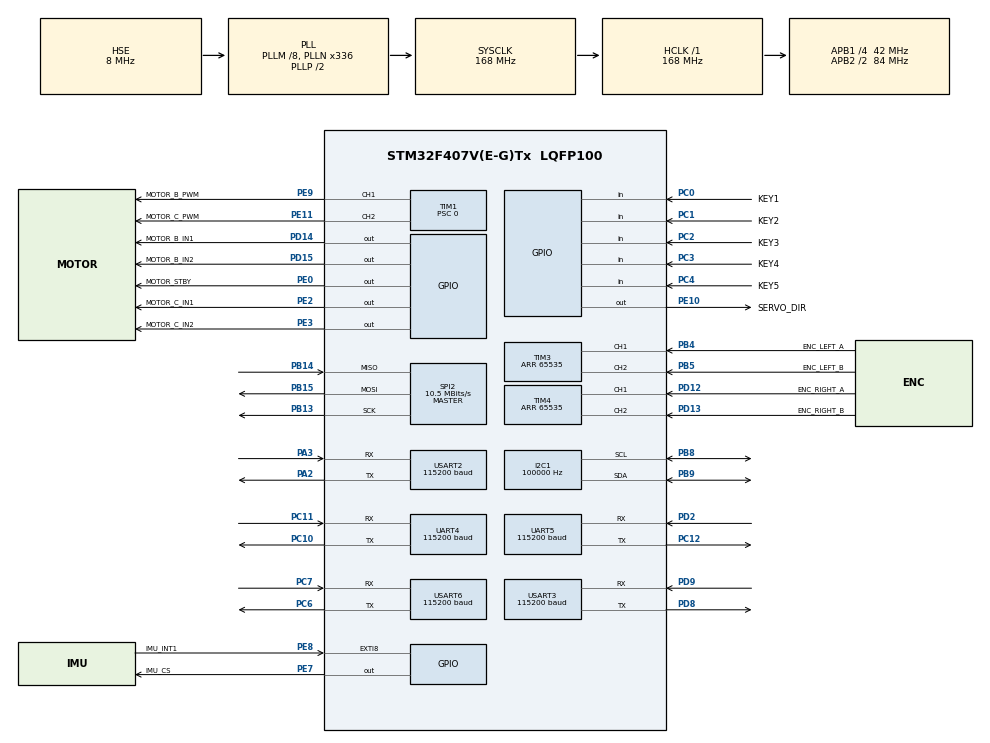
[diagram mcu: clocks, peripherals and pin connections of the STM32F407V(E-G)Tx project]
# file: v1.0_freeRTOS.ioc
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Dma.Request0=UART5_RX
Dma.Request1=UART5_TX
Dma.Request2=USART3_RX
Dma.Request3=USART2_RX
Dma.Request4=USART2_TX
Dma.Request5=SPI2_RX
Dma.Request6=SPI2_TX
Dma.Request7=USART6_RX
Dma.Request8=USART6_TX
Dma.Request9=UART4_RX
Dma.SPI2_RX.5.Direction=DMA_PERIPH_TO_MEMORY
Dma.SPI2_RX.5.FIFOMode=DMA_FIFOMODE_DISABLE
Dma.SPI2_RX.5.Instance=DMA1_Stream3
Dma.SPI2_RX.5.MemDataAlignment=DMA_MDATAALIGN_BYTE
Dma.SPI2_RX.5.MemInc=DMA_MINC_ENABLE
Dma.SPI2_RX.5.Mode=DMA_NORMAL
Dma.SPI2_RX.5.PeriphDataAlignment=DMA_PDATAALIGN_BYTE
Dma.SPI2_RX.5.PeriphInc=DMA_PINC_DISABLE
Dma.SPI2_RX.5.Priority=DMA_PRIORITY_HIGH
Dma.SPI2_TX.6.Direction=DMA_MEMORY_TO_PERIPH
Dma.SPI2_TX.6.FIFOMode=DMA_FIFOMODE_DISABLE
Dma.SPI2_TX.6.Instance=DMA1_Stream4
Dma.SPI2_TX.6.MemDataAlignment=DMA_MDATAALIGN_BYTE
Dma.SPI2_TX.6.MemInc=DMA_MINC_ENABLE
Dma.SPI2_TX.6.Mode=DMA_NORMAL
Dma.SPI2_TX.6.PeriphDataAlignment=DMA_PDATAALIGN_BYTE
Dma.SPI2_TX.6.PeriphInc=DMA_PINC_DISABLE
Dma.SPI2_TX.6.Priority=DMA_PRIORITY_HIGH
Dma.UART4_RX.9.Direction=DMA_PERIPH_TO_MEMORY
Dma.UART4_RX.9.FIFOMode=DMA_FIFOMODE_DISABLE
Dma.UART4_RX.9.Instance=DMA1_Stream2
Dma.UART4_RX.9.MemDataAlignment=DMA_MDATAALIGN_BYTE
Dma.UART4_RX.9.MemInc=DMA_MINC_ENABLE
Dma.UART4_RX.9.Mode=DMA_CIRCULAR
Dma.UART4_RX.9.PeriphDataAlignment=DMA_PDATAALIGN_BYTE
Dma.UART4_RX.9.PeriphInc=DMA_PINC_DISABLE
Dma.UART4_RX.9.Priority=DMA_PRIORITY_MEDIUM
Dma.UART5_RX.0.Direction=DMA_PERIPH_TO_MEMORY
Dma.UART5_RX.0.FIFOMode=DMA_FIFOMODE_DISABLE
Dma.UART5_RX.0.Instance=DMA1_Stream0
Dma.UART5_RX.0.MemDataAlignment=DMA_MDATAALIGN_BYTE
Dma.UART5_RX.0.MemInc=DMA_MINC_ENABLE
Dma.UART5_RX.0.Mode=DMA_NORMAL
Dma.UART5_RX.0.PeriphDataAlignment=DMA_PDATAALIGN_BYTE
Dma.UART5_RX.0.PeriphInc=DMA_PINC_DISABLE
Dma.UART5_RX.0.Priority=DMA_PRIORITY_LOW
Dma.UART5_TX.1.Direction=DMA_MEMORY_TO_PERIPH
Dma.UART5_TX.1.FIFOMode=DMA_FIFOMODE_DISABLE
Dma.UART5_TX.1.Instance=DMA1_Stream7
Dma.UART5_TX.1.MemDataAlignment=DMA_MDATAALIGN_BYTE
Dma.UART5_TX.1.MemInc=DMA_MINC_ENABLE
Dma.UART5_TX.1.Mode=DMA_NORMAL
Dma.UART5_TX.1.PeriphDataAlignment=DMA_PDATAALIGN_BYTE
Dma.UART5_TX.1.PeriphInc=DMA_PINC_DISABLE
Dma.UART5_TX.1.Priority=DMA_PRIORITY_LOW
Dma.USART2_RX.3.Direction=DMA_PERIPH_TO_MEMORY
Dma.USART2_RX.3.FIFOMode=DMA_FIFOMODE_DISABLE
Dma.USART2_RX.3.Instance=DMA1_Stream5
Dma.USART2_RX.3.MemDataAlignment=DMA_MDATAALIGN_BYTE
Dma.USART2_RX.3.MemInc=DMA_MINC_ENABLE
Dma.USART2_RX.3.Mode=DMA_CIRCULAR
Dma.USART2_RX.3.PeriphDataAlignment=DMA_PDATAALIGN_BYTE
Dma.USART2_RX.3.PeriphInc=DMA_PINC_DISABLE
Dma.USART2_RX.3.Priority=DMA_PRIORITY_HIGH
Dma.USART2_TX.4.Direction=DMA_MEMORY_TO_PERIPH
Dma.USART2_TX.4.FIFOMode=DMA_FIFOMODE_DISABLE
Dma.USART2_TX.4.Instance=DMA1_Stream6
Dma.USART2_TX.4.MemDataAlignment=DMA_MDATAALIGN_BYTE
Dma.USART2_TX.4.MemInc=DMA_MINC_ENABLE
Dma.USART2_TX.4.Mode=DMA_NORMAL
Dma.USART2_TX.4.PeriphDataAlignment=DMA_PDATAALIGN_BYTE
Dma.USART2_TX.4.PeriphInc=DMA_PINC_DISABLE
Dma.USART2_TX.4.Priority=DMA_PRIORITY_MEDIUM
Dma.USART3_RX.2.Direction=DMA_PERIPH_TO_MEMORY
Dma.USART3_RX.2.FIFOMode=DMA_FIFOMODE_DISABLE
Dma.USART3_RX.2.Instance=DMA1_Stream1
Dma.USART3_RX.2.MemDataAlignment=DMA_MDATAALIGN_BYTE
Dma.USART3_RX.2.MemInc=DMA_MINC_ENABLE
Dma.USART3_RX.2.Mode=DMA_CIRCULAR
Dma.USART3_RX.2.PeriphDataAlignment=DMA_PDATAALIGN_BYTE
Dma.USART3_RX.2.PeriphInc=DMA_PINC_DISABLE
Dma.USART3_RX.2.Priority=DMA_PRIORITY_VERY_HIGH
Dma.USART6_RX.7.Direction=DMA_PERIPH_TO_MEMORY
Dma.USART6_RX.7.FIFOMode=DMA_FIFOMODE_DISABLE
Dma.USART6_RX.7.Instance=DMA2_Stream1
Dma.USART6_RX.7.MemDataAlignment=DMA_MDATAALIGN_BYTE
Dma.USART6_RX.7.MemInc=DMA_MINC_ENABLE
Dma.USART6_RX.7.Mode=DMA_CIRCULAR
Dma.USART6_RX.7.PeriphDataAlignment=DMA_PDATAALIGN_BYTE
Dma.USART6_RX.7.PeriphInc=DMA_PINC_DISABLE
Dma.USART6_RX.7.Priority=DMA_PRIORITY_HIGH
Dma.USART6_TX.8.Direction=DMA_MEMORY_TO_PERIPH
Dma.USART6_TX.8.FIFOMode=DMA_FIFOMODE_DISABLE
Dma.USART6_TX.8.Instance=DMA2_Stream6
Dma.USART6_TX.8.MemDataAlignment=DMA_MDATAALIGN_BYTE
Dma.USART6_TX.8.MemInc=DMA_MINC_ENABLE
Dma.USART6_TX.8.Mode=DMA_NORMAL
Dma.USART6_TX.8.PeriphDataAlignment=DMA_PDATAALIGN_BYTE
Dma.USART6_TX.8.PeriphInc=DMA_PINC_DISABLE
Dma.USART6_TX.8.Priority=DMA_PRIORITY_HIGH
FREERTOS.Tasks01=defaultTask,24,512,StartDefaultTask,Default,NULL,Dynamic,NULL,NULL
FREERTOS.configTOTAL_HEAP_SIZE=32768
I2C1.ClockSpeed=100000
Mcu.Family=STM32F4
Mcu.Name=STM32F407V(E-G)Tx
Mcu.Package=LQFP100
NVIC.DMA1_Stream0_IRQn=true\:5\:0\:false\:false\:true\:true\:true\:true\:true
NVIC.DMA1_Stream1_IRQn=true\:5\:0\:false\:false\:true\:true\:true\:true\:true
NVIC.DMA1_Stream2_IRQn=true\:5\:0\:false\:false\:true\:true\:true\:true\:true
NVIC.DMA1_Stream3_IRQn=true\:5\:0\:false\:false\:true\:true\:true\:true\:true
NVIC.DMA1_Stream4_IRQn=true\:5\:0\:false\:false\:true\:true\:true\:true\:true
NVIC.DMA1_Stream5_IRQn=true\:5\:0\:false\:false\:true\:true\:true\:true\:true
NVIC.DMA1_Stream6_IRQn=true\:5\:0\:false\:false\:true\:true\:true\:true\:true
NVIC.DMA1_Stream7_IRQn=true\:5\:0\:false\:false\:true\:true\:true\:true\:true
NVIC.DMA2_Stream1_IRQn=true\:5\:0\:false\:false\:true\:true\:true\:true\:true
NVIC.DMA2_Stream6_IRQn=true\:5\:0\:false\:false\:true\:true\:true\:true\:true
NVIC.EXTI0_IRQn=false\:5\:0\:false\:false\:true\:true\:true\:true\:true
NVIC.EXTI1_IRQn=false\:5\:0\:false\:false\:true\:true\:true\:true\:true
NVIC.EXTI2_IRQn=false\:5\:0\:false\:false\:true\:true\:true\:true\:true
NVIC.EXTI3_IRQn=false\:5\:0\:false\:false\:true\:true\:true\:true\:true
NVIC.EXTI4_IRQn=false\:5\:0\:false\:false\:true\:true\:true\:true\:true
NVIC.EXTI9_5_IRQn=true\:5\:0\:false\:false\:true\:true\:true\:true\:true
NVIC.PriorityGroup=NVIC_PRIORITYGROUP_4
NVIC.TIM6_DAC_IRQn=true\:15\:0\:false\:false\:true\:false\:false\:true\:true
NVIC.TimeBase=TIM6_DAC_IRQn
NVIC.TimeBaseIP=TIM6
NVIC.UART4_IRQn=true\:5\:0\:false\:false\:true\:true\:true\:true\:true
NVIC.UART5_IRQn=true\:5\:0\:false\:false\:true\:true\:true\:true\:true
NVIC.USART2_IRQn=true\:5\:0\:false\:false\:true\:true\:true\:true\:true
NVIC.USART3_IRQn=true\:5\:0\:false\:false\:true\:true\:true\:true\:true
NVIC.USART6_IRQn=true\:5\:0\:false\:false\:true\:true\:true\:true\:true
PA1.GPIO_Label=TB6612_ADC
PA1.Signal=ADCx_IN1
PA13.Mode=Serial_Wire
PA13.Signal=SYS_JTMS-SWDIO
PA14.Mode=Serial_Wire
PA14.Signal=SYS_JTCK-SWCLK
PA2.Mode=Asynchronous
PA2.Signal=USART2_TX
PA3.Mode=Asynchronous
PA3.Signal=USART2_RX
PB13.Mode=Full_Duplex_Master
PB13.Signal=SPI2_SCK
PB14.Mode=Full_Duplex_Master
PB14.Signal=SPI2_MISO
PB15.Mode=Full_Duplex_Master
PB15.Signal=SPI2_MOSI
PB4.GPIO_Label=ENC_LEFT_A
PB4.GPIO_PuPd=GPIO_PULLUP
PB4.Signal=S_TIM3_CH1
PB5.GPIO_Label=ENC_LEFT_B
PB5.GPIO_PuPd=GPIO_PULLUP
PB5.Signal=S_TIM3_CH2
PB8.Mode=I2C
PB8.Signal=I2C1_SCL
PB9.Mode=I2C
PB9.Signal=I2C1_SDA
PC0.GPIO_Label=KEY1
PC0.GPIO_PuPd=GPIO_PULLUP
PC0.Signal=GPIO_Input
PC1.GPIO_Label=KEY2
PC1.GPIO_PuPd=GPIO_PULLUP
PC1.Signal=GPIO_Input
PC10.Mode=Asynchronous
PC10.Signal=UART4_TX
PC11.Mode=Asynchronous
PC11.Signal=UART4_RX
PC12.Mode=Asynchronous
PC12.Signal=UART5_TX
PC2.GPIO_Label=KEY3
PC2.GPIO_PuPd=GPIO_PULLUP
PC2.Signal=GPIO_Input
PC3.GPIO_Label=KEY4
PC3.GPIO_PuPd=GPIO_PULLUP
PC3.Signal=GPIO_Input
PC4.GPIO_Label=KEY5
PC4.GPIO_PuPd=GPIO_PULLUP
PC4.Signal=GPIO_Input
PC6.Mode=Asynchronous
PC6.Signal=USART6_TX
PC7.Mode=Asynchronous
PC7.Signal=USART6_RX
PD12.GPIO_Label=ENC_RIGHT_A
PD12.GPIO_PuPd=GPIO_PULLUP
PD12.Signal=S_TIM4_CH1
PD13.GPIO_Label=ENC_RIGHT_B
PD13.GPIO_PuPd=GPIO_PULLUP
PD13.Signal=S_TIM4_CH2
PD14.GPIO_Label=MOTOR_B_IN1
PD14.GPIO_PuPd=GPIO_NOPULL
PD14.GPIO_Speed=GPIO_SPEED_FREQ_LOW
PD14.PinState=GPIO_PIN_RESET
PD14.Signal=GPIO_Output
PD15.GPIO_Label=MOTOR_B_IN2
PD15.GPIO_PuPd=GPIO_NOPULL
PD15.GPIO_Speed=GPIO_SPEED_FREQ_LOW
PD15.PinState=GPIO_PIN_RESET
PD15.Signal=GPIO_Output
PD2.Mode=Asynchronous
PD2.Signal=UART5_RX
PD8.Mode=Asynchronous
PD8.Signal=USART3_TX
PD9.Mode=Asynchronous
PD9.Signal=USART3_RX
PE0.GPIO_Label=MOTOR_STBY
PE0.GPIO_PuPd=GPIO_PULLDOWN
PE0.GPIO_Speed=GPIO_SPEED_FREQ_LOW
PE0.PinState=GPIO_PIN_RESET
PE0.Signal=GPIO_Output
PE10.GPIO_Label=SERVO_DIR
PE10.GPIO_PuPd=GPIO_NOPULL
PE10.GPIO_Speed=GPIO_SPEED_FREQ_LOW
PE10.PinState=GPIO_PIN_RESET
PE10.Signal=GPIO_Output
PE11.GPIO_Label=MOTOR_C_PWM
PE11.Signal=S_TIM1_CH2
PE2.GPIO_Label=MOTOR_C_IN1
PE2.GPIO_PuPd=GPIO_NOPULL
PE2.GPIO_Speed=GPIO_SPEED_FREQ_LOW
PE2.PinState=GPIO_PIN_RESET
PE2.Signal=GPIO_Output
PE3.GPIO_Label=MOTOR_C_IN2
PE3.GPIO_PuPd=GPIO_NOPULL
PE3.GPIO_Speed=GPIO_SPEED_FREQ_LOW
PE3.PinState=GPIO_PIN_RESET
PE3.Signal=GPIO_Output
PE7.GPIO_Label=IMU_CS
PE7.GPIO_PuPd=GPIO_PULLUP
PE7.GPIO_Speed=GPIO_SPEED_FREQ_HIGH
PE7.PinState=GPIO_PIN_SET
PE7.Signal=GPIO_Output
PE8.GPIO_Label=IMU_INT1
PE8.GPIO_ModeDefaultEXTI=GPIO_MODE_IT_RISING
PE8.GPIO_PuPd=GPIO_NOPULL
PE8.Signal=GPXTI8
PE9.GPIO_Label=MOTOR_B_PWM
PE9.Signal=S_TIM1_CH1
PH0-OSC_IN.Mode=HSE-External-Oscillator
PH0-OSC_IN.Signal=RCC_OSC_IN
PH1-OSC_OUT.Mode=HSE-External-Oscillator
PH1-OSC_OUT.Signal=RCC_OSC_OUT
ProjectManager.HeapSize=0x400
ProjectManager.StackSize=0x800
ProjectManager.TargetToolchain=CMake
RCC.48MHZClocksFreq_Value=48000000
RCC.AHBFreq_Value=168000000
RCC.APB1CLKDivider=RCC_HCLK_DIV4
RCC.APB1Freq_Value=42000000
RCC.APB1TimFreq_Value=84000000
RCC.APB2CLKDivider=RCC_HCLK_DIV2
RCC.APB2Freq_Value=84000000
RCC.APB2TimFreq_Value=168000000
RCC.CortexFreq_Value=168000000
RCC.HCLKFreq_Value=168000000
RCC.HSE_VALUE=8000000
RCC.HSI_VALUE=16000000
RCC.LSE_VALUE=32768
RCC.PLLM=8
RCC.PLLN=336
RCC.PLLQ=7
RCC.PLLSourceVirtual=RCC_PLLSOURCE_HSE
RCC.SYSCLKFreq_VALUE=168000000
RCC.SYSCLKSource=RCC_SYSCLKSOURCE_PLLCLK
RCC.VCOOutputFreq_Value=336000000
SH.S_TIM1_CH1.0=TIM1_CH1,PWM Generation1 CH1
SH.S_TIM1_CH2.0=TIM1_CH2,PWM Generation2 CH2
SH.S_TIM3_CH1.0=TIM3_CH1,Encoder_Interface
SH.S_TIM3_CH2.0=TIM3_CH2,Encoder_Interface
SH.S_TIM4_CH1.0=TIM4_CH1,Encoder_Interface
SH.S_TIM4_CH2.0=TIM4_CH2,Encoder_Interface
SPI2.BaudRatePrescaler=SPI_BAUDRATEPRESCALER_4
SPI2.CLKPhase=SPI_PHASE_2EDGE
SPI2.CLKPolarity=SPI_POLARITY_LOW
SPI2.CalculateBaudRate=10.5 MBits/s
SPI2.Direction=SPI_DIRECTION_2LINES
SPI2.Mode=SPI_MODE_MASTER
SPI2.VirtualType=VM_MASTER
TIM1.AutoReloadPreload=TIM_AUTORELOAD_PRELOAD_ENABLE
TIM1.Channel-PWM\ Generation1\ CH1=TIM_CHANNEL_1
TIM1.Channel-PWM\ Generation2\ CH2=TIM_CHANNEL_2
TIM1.Period=8399
TIM1.Prescaler=0
TIM3.EncoderMode=TIM_ENCODERMODE_TI12
TIM3.IC1Filter=8
TIM3.IC2Filter=8
TIM3.Period=65535
TIM4.EncoderMode=TIM_ENCODERMODE_TI12
TIM4.IC1Filter=8
TIM4.IC2Filter=8
TIM4.Period=65535
UART4.BaudRate=115200
UART4.VirtualMode=Asynchronous
UART5.BaudRate=115200
UART5.VirtualMode=Asynchronous
USART2.BaudRate=115200
USART2.VirtualMode=VM_ASYNC
USART3.BaudRate=115200
USART3.VirtualMode=VM_ASYNC
USART6.BaudRate=115200
USART6.VirtualMode=VM_ASYNC
VP_FREERTOS_VS_CMSIS_V2.Mode=CMSIS_V2
VP_SYS_VS_tim6.Mode=TIM6
VP_TIM1_VS_ClockSourceINT.Mode=Internal
board=custom

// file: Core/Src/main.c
/* USER CODE BEGIN Header */
/**
  ******************************************************************************
  * @file           : main.c
  * @brief          : Main program body
  ******************************************************************************
  * @attention
  *
  * Copyright (c) 2026 STMicroelectronics.
  * All rights reserved.
  *
  * This software is licensed under terms that can be found in the LICENSE file
  * in the root directory of this software component.
  * If no LICENSE file comes with this software, it is provided AS-IS.
  *
  ******************************************************************************
  */
/* USER CODE END Header */
#include "main.h"
#include "cmsis_os.h"
#include "dma.h"
#include "i2c.h"
#include "spi.h"
#include "tim.h"
#include "usart.h"
#include "gpio.h"

/* USER CODE BEGIN Includes */
#include "app/uart_debug.h"
#include <stdio.h>
/* USER CODE END Includes */

void SystemClock_Config(void);
void MX_FREERTOS_Init(void);

int main(void)
{

  /* MCU Configuration--------------------------------------------------------*/

  /* Reset of all peripherals, Initializes the Flash interface and the Systick. */
  HAL_Init();

  /* Configure the system clock */
  SystemClock_Config();

  /* Initialize all configured peripherals */
  MX_GPIO_Init();
  MX_DMA_Init();
  MX_I2C1_Init();
  MX_SPI2_Init();
  MX_TIM1_Init();
  MX_TIM3_Init();
  MX_TIM4_Init();
  MX_UART4_Init();
  MX_UART5_Init();
  MX_USART2_UART_Init();
  MX_USART3_UART_Init();
  MX_USART6_UART_Init();

  /* Init scheduler */
  osKernelInitialize();  /* Call init function for freertos objects (in cmsis_os2.c) */
  MX_FREERTOS_Init();

  /* Start scheduler */
  osKernelStart();

  /* We should never get here as control is now taken by the scheduler */

  /* Infinite loop */
  while (1)
  {

  }
}

void SystemClock_Config(void)
{
  RCC_OscInitTypeDef RCC_OscInitStruct = {0};
  RCC_ClkInitTypeDef RCC_ClkInitStruct = {0};

  /** Configure the main internal regulator output voltage
  */
  __HAL_RCC_PWR_CLK_ENABLE();
  __HAL_PWR_VOLTAGESCALING_CONFIG(PWR_REGULATOR_VOLTAGE_SCALE1);

  /** Initializes the RCC Oscillators according to the specified parameters
  * in the RCC_OscInitTypeDef structure.
  */
  RCC_OscInitStruct.OscillatorType = RCC_OSCILLATORTYPE_HSE;
  RCC_OscInitStruct.HSEState = RCC_HSE_ON;
  RCC_OscInitStruct.PLL.PLLState = RCC_PLL_ON;
  RCC_OscInitStruct.PLL.PLLSource = RCC_PLLSOURCE_HSE;
  RCC_OscInitStruct.PLL.PLLM = 8;
  RCC_OscInitStruct.PLL.PLLN = 336;
  RCC_OscInitStruct.PLL.PLLP = RCC_PLLP_DIV2;
  RCC_OscInitStruct.PLL.PLLQ = 7;
  if (HAL_RCC_OscConfig(&RCC_OscInitStruct) != HAL_OK)
  {
    Error_Handler();
  }

  /** Initializes the CPU, AHB and APB buses clocks
  */
  RCC_ClkInitStruct.ClockType = RCC_CLOCKTYPE_HCLK|RCC_CLOCKTYPE_SYSCLK
                              |RCC_CLOCKTYPE_PCLK1|RCC_CLOCKTYPE_PCLK2;
  RCC_ClkInitStruct.SYSCLKSource = RCC_SYSCLKSOURCE_PLLCLK;
  RCC_ClkInitStruct.AHBCLKDivider = RCC_SYSCLK_DIV1;
  RCC_ClkInitStruct.APB1CLKDivider = RCC_HCLK_DIV4;
  RCC_ClkInitStruct.APB2CLKDivider = RCC_HCLK_DIV2;

  if (HAL_RCC_ClockConfig(&RCC_ClkInitStruct, FLASH_LATENCY_5) != HAL_OK)
  {
    Error_Handler();
  }
}

void HAL_TIM_PeriodElapsedCallback(TIM_HandleTypeDef *htim)
{
  if (htim->Instance == TIM6)
  {
    HAL_IncTick();
  }
}

void Error_Handler(void)
{
  __disable_irq();
  while (1)
  {
  }
}

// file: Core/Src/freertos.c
/* USER CODE BEGIN Header */
/**
  ******************************************************************************
  * File Name          : freertos.c
  * Description        : Code for freertos applications
  ******************************************************************************
  * @attention
  *
  * Copyright (c) 2026 STMicroelectronics.
  * All rights reserved.
  *
  * This software is licensed under terms that can be found in the LICENSE file
  * in the root directory of this software component.
  * If no LICENSE file comes with this software, it is provided AS-IS.
  *
  ******************************************************************************
  */
/* USER CODE END Header */

#include "FreeRTOS.h"
#include "task.h"
#include "main.h"
#include "cmsis_os.h"

/* USER CODE BEGIN Includes */
#include "track_control_app.h"
#include "usart.h"
#include "ir_calibration.h"
#include "ir_uart_sensor.h"
#include "motor.h"
#include "encoder.h"
#include "config.h"
#include "platform_time.h"
#include "imu_debug.h"
#include "competition_tasks.h"
#include <stdio.h>
/* USER CODE END Includes */

/* USER CODE BEGIN PD */

/* ============================================================================
 * 测试模式选择开关
 * ============================================================================
 *
 * 取消注释以下其中一个宏来选择运行模式：
 *
 * 1. TEST_MODE_IR_CALIBRATION     - IR传感器校准模式
 *    功能：白平衡校准 → 黑线阈值校准 → 实时监控验证
 *    适用场景：首次测试、光照变化后、更换传感器/赛道
 *    操作步骤：见下方详细说明
 *
 * 2. TEST_MODE_TRACK_CONTROL      - 完整循迹控制模式（Pure Pursuit）
 *    功能：EKF状态估计 + 轨迹规划 + Pure Pursuit循迹
 *    前提条件：IR传感器已校准、PID参数已调优
 *
 * 3. TEST_MODE_PLAYGROUND_TRACK   - 操场型循迹（第2/4题比赛模式）
 *    功能：分段自适应循迹，任务2（绕圈）或任务4（A→B直道）
 *    前提条件：IR传感器已校准
 *
 * 注意：同时只能定义一个测试模式
 * ============================================================================ */

#ifndef IMU_DIAGNOSTIC_PROFILE
#define IMU_DIAGNOSTIC_PROFILE 0
#endif

#if !IMU_DIAGNOSTIC_PROFILE
// #define TEST_MODE_IR_CALIBRATION        /* ← IR校准模式 */
// #define TEST_MODE_TRACK_CONTROL      /* ← Pure Pursuit循迹模式 */
#define TEST_MODE_PLAYGROUND_TRACK   /* ← 当前激活：操场型循迹（第2/4题） */
#endif

#define TARGET_LAPS  3U   /* 比赛圈数，可按需修改 (1-5) */
/* USER CODE END PD */

/* Definitions for defaultTask */
osThreadId_t defaultTaskHandle;
const osThreadAttr_t defaultTask_attributes = {
  .name = "defaultTask",
  .stack_size = 768 * 4,  /* Increased from 512*4 (2048) to 768*4 (3072) bytes for EKF safety */
  .priority = (osPriority_t) osPriorityNormal,
};

/* OLED uses blocking I2C transfers, so it must not run in the 500 Hz loop. */
osThreadId_t displayTaskHandle;
const osThreadAttr_t displayTask_attributes = {
  .name = "displayTask",
  .stack_size = 512 * 4,
  .priority = (osPriority_t) osPriorityLow,
};

void StartDefaultTask(void *argument);
void StartDisplayTask(void *argument);

void MX_FREERTOS_Init(void); /* (MISRA C 2004 rule 8.1) */

void MX_FREERTOS_Init(void) {

  /* Create the thread(s) */
  /* creation of defaultTask */
  defaultTaskHandle = osThreadNew(StartDefaultTask, NULL, &defaultTask_attributes);

  /* USER CODE BEGIN RTOS_THREADS */
  displayTaskHandle = osThreadNew(StartDisplayTask, NULL, &displayTask_attributes);
  /* USER CODE END RTOS_THREADS */

}

void StartDisplayTask(void *argument)
{
  (void)argument;

  /* The controller initializes OLED first; this call is a no-op until ready. */
  for (;;)
  {
    CompetitionTasks_DisplayCycle();
    osDelay(100);
  }
}

/* USER CODE BEGIN Header_StartDefaultTask */
/**
  * @brief  Function implementing the defaultTask thread.
  * @param  argument: Not used
  * @retval None
  *
  * @note   测试模式说明：
  *         - TEST_MODE_IR_CALIBRATION: IR传感器校准（不驱动电机）
  *         - TEST_MODE_TRACK_CONTROL:  完整循迹控制
  */
/* USER CODE END Header_StartDefaultTask */
void StartDefaultTask(void *argument)
{
  /* USER CODE BEGIN StartDefaultTask */

#if IMU_DIAGNOSTIC_PROFILE
  /* ========================================================================
   * ICM42688 独立诊断模式
   *
   * 只运行 v1.0 曾验证成功的 ImuDebug 路径；不初始化电机、编码器、循迹
   * 传感器或主控算法，用于排除其他模块和初始化顺序对 SPI2 的影响。
   * ======================================================================== */
  printf("\r\n");
  printf("============================================================\r\n");
  printf(" ICM42688 STANDALONE DIAGNOSTIC - MOTORS WILL NOT BE STARTED\r\n");
  printf("============================================================\r\n");

  while (!ImuDebug_Init()) {
      printf("\r\n[IMU-DIAG] Init failed; retrying the exact path in 3 seconds...\r\n");
      osDelay(3000);
  }

  printf("[IMU-DIAG] Init passed; streaming sensor data every 500 ms.\r\n");
  for (;;) {
      ImuDebug_Run(500);
      osDelay(10);
  }

#elif defined(TEST_MODE_IR_CALIBRATION)
  /* ========================================================================
   * IR传感器一步校准模式
   * ======================================================================== */
  printf("\r\n=== IR One-Step Calibration v1.2.2 ===\r\n");
  osDelay(100);

  /* 步骤1: 初始化必要硬件（不启动电机） */
  printf("[STEP 1/4] Init hardware...\r\n");
  osDelay(50);
  Motor_Init();
  Motor_Stop();  /* 确保电机停止 */
  Encoder_Init();
  PlatformTime_Init();

  printf("[INFO] Init IR sensor...\r\n");
  osDelay(50);
  IrUartSensor_Init();
  IrUartSensor_RequestAnalogMode();

  printf("[INFO] Warm-up 2 sec...\r\n");
  osDelay(50);
  osDelay(2000);

  /* 加载默认配置 */
  sd_config_reset_defaults();

  printf("[OK] Hardware ready\r\n");
  osDelay(100);

  /* 步骤2: 一步校准 */
  printf("\r\n[STEP 2/4] Calibration\r\n");
  osDelay(50);
  printf("Place robot: Ch3&4 on BLACK, others on WHITE\r\n");
  osDelay(50);
  printf("Layout: [0][1][2][3][4][5][6][7]\r\n");
  osDelay(50);
  printf("        W  W  W  B  B  W  W  W\r\n");
  osDelay(50);

  printf("Starting in 5 sec...\r\n");
  osDelay(1000);
  printf("4...\r\n");
  osDelay(1000);
  printf("3...\r\n");
  osDelay(1000);
  printf("2...\r\n");
  osDelay(1000);
  printf("1...\r\n");
  osDelay(1000);

  IrCalibration_OneStep();

  printf("Wait 3 sec...\r\n");
  osDelay(3000);

  /* 步骤3: 显示校准结果 */
  printf("\r\n[STEP 3/4] Results\r\n");
  osDelay(100);

  IrCalibration_PrintConfig();

  printf("Wait 3 sec...\r\n");
  osDelay(3000);

  /* 步骤4: 实时监控验证 */
  printf("\r\n[STEP 4/4] Monitoring (60 sec)\r\n");
  osDelay(50);
  printf("Move robot left/right to check lateral_error sign\r\n");
  osDelay(50);
  printf("Right -> positive, Left -> negative\r\n");
  osDelay(50);

  IrCalibration_Monitor(60000, 1000);  /* 60秒监控，1秒间隔 */

  /* 完成 */
  printf("\r\n=== CALIBRATION COMPLETE ===\r\n");
  osDelay(100);
  printf("Next: Switch to TEST_MODE_TRACK_CONTROL\r\n");
  osDelay(100);

  printf("Restarting in 10 sec...\r\n");
  osDelay(10000);

  /* 无限循环：持续监控模式 */
  printf("Continuous monitoring...\r\n");
  osDelay(100);

  for (;;) {
      IrCalibration_Monitor(30000, 1000);  /* 每30秒一轮，1秒间隔 */
      osDelay(1000);
  }

#elif defined(TEST_MODE_TRACK_CONTROL)
  /* ========================================================================
   * 完整循迹控制模式
   * ======================================================================== */
  printf("\r\n");
  printf("╔════════════════════════════════════════════════════════════════╗\r\n");
  printf("║       Track Control Mode - STM32 Track Robot v1.2.1           ║\r\n");
  printf("╚════════════════════════════════════════════════════════════════╝\r\n");
  printf("\r\n");

  /* 使用操场路径 (Track Path) 而不是方形路径 (Square Path) */
  if (!TrackControlApp_Init(TARGET_LAPS)) {
      printf("[FATAL] TrackControlApp_Init failed — motors halted\r\n");
      for (;;) { osDelay(1000); }
  }

  /* Defensive: TrackControlApp_Init issues multiple printf calls after IR init;
   * HAL_UART_Transmit (UART5/printf) can momentarily clear RXNEIE on USART2.
   * Re-arm the interrupt now that all init is complete. */
  SET_BIT(huart2.Instance->CR1, USART_CR1_RXNEIE);

  printf("[TrackControlApp] Running — target laps: %u\r\n", (unsigned)TARGET_LAPS);

#if (INCLUDE_uxTaskGetStackHighWaterMark == 1)
  /* Report initial stack watermark for monitoring */
  UBaseType_t stack_watermark = uxTaskGetStackHighWaterMark(NULL);
  printf("[RTOS] defaultTask stack size: 3072 bytes, high-water mark: %u words (%u bytes free)\r\n",
         (unsigned)stack_watermark, (unsigned)(stack_watermark * 4));
#endif

  /* 500 Hz control loop (2 ms tick, assuming 1 kHz FreeRTOS tick rate) */
  uint32_t loop_counter = 0;
  for (;;)
  {
      TrackControlApp_RunFastCycle();
      osDelay(2);

#if (INCLUDE_uxTaskGetStackHighWaterMark == 1)
      /* Report stack usage every 10 seconds (5000 loops at 500Hz) */
      if (++loop_counter >= 5000U) {
          loop_counter = 0;
          stack_watermark = uxTaskGetStackHighWaterMark(NULL);
          printf("[RTOS] Stack high-water mark: %u words (%u bytes free, %u%% used)\r\n",
                 (unsigned)stack_watermark,
                 (unsigned)(stack_watermark * 4),
                 (unsigned)(100 - (stack_watermark * 400 / 3072)));
      }
#endif
  }

#elif defined(TEST_MODE_PLAYGROUND_TRACK)
  /* ========================================================================
   * H题统一比赛模式（按键选择第2..6题）
   * ======================================================================== */
  printf("\r\n");
  printf("╔════════════════════════════════════════════════════════════════╗\r\n");
  printf("║       H Problem Tasks 2-6 - STM32F407 Competition App         ║\r\n");
  printf("╚════════════════════════════════════════════════════════════════╝\r\n");
  printf("\r\n");

  if (!CompetitionTasks_Init()) {
      printf("[FATAL] CompetitionTasks_Init failed — motors halted\r\n");
      for (;;) { osDelay(1000); }
  }

  /* Re-arm USART2 RX interrupt after all printf calls */
  SET_BIT(huart2.Instance->CR1, USART_CR1_RXNEIE);

  printf("[Competition] K1=previous, K2=next, K3=confirm/start; "
         "K4/K5 disabled\r\n");

#if (INCLUDE_uxTaskGetStackHighWaterMark == 1)
  UBaseType_t stack_watermark = uxTaskGetStackHighWaterMark(NULL);
  printf("[RTOS] Stack size: 3072 bytes, watermark: %u words (%u bytes free)\r\n",
         (unsigned)stack_watermark, (unsigned)(stack_watermark * 4));
#endif

  /* 500 Hz control loop (2 ms tick) */
  uint32_t loop_counter = 0;
  for (;;)
  {
      CompetitionTasks_RunFastCycle();
      osDelay(2);

#if (INCLUDE_uxTaskGetStackHighWaterMark == 1)
      /* Report stack usage every 10 seconds (5000 loops at 500Hz) */
      if (++loop_counter >= 5000U) {
          loop_counter = 0;
          stack_watermark = uxTaskGetStackHighWaterMark(NULL);
          printf("[RTOS] Stack watermark: %u words (%u bytes free, %u%% used)\r\n",
                 (unsigned)stack_watermark,
                 (unsigned)(stack_watermark * 4),
                 (unsigned)(100 - (stack_watermark * 400 / 3072)));
      }
#endif

  }

#else
  /* ========================================================================
   * 错误：未定义测试模式
   * ======================================================================== */
  #error "Please define one of: TEST_MODE_IR_CALIBRATION, TEST_MODE_TRACK_CONTROL, or TEST_MODE_PLAYGROUND_TRACK in freertos.c"
#endif

  /* USER CODE END StartDefaultTask */
}
